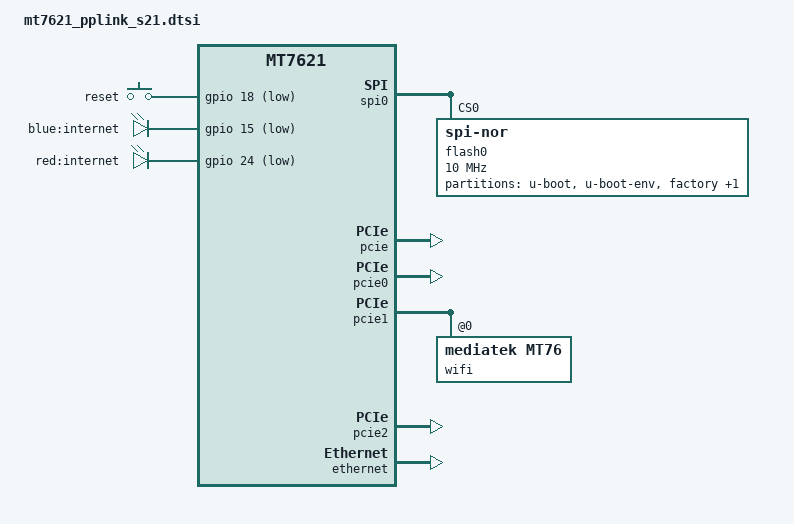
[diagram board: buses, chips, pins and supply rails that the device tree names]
#include "mt7621.dtsi"

#include <dt-bindings/gpio/gpio.h>
#include <dt-bindings/input/input.h>
#include <dt-bindings/leds/common.h>

/ {
	aliases {
		led-boot = &led_internet_blue;
		led-failsafe = &led_internet_red;
		led-running = &led_internet_blue;
		led-upgrade = &led_internet_red;
		label-mac-device = &gmac0;
	};

	chosen {
		bootargs = "console=ttyS0,115200";
	};

	keys {
		compatible = "gpio-keys";

		reset {
			label = "reset";
			gpios = <&gpio 18 GPIO_ACTIVE_LOW>;
			linux,code = <KEY_RESTART>;
		};
	};

	leds {
		compatible = "gpio-leds";

		led_internet_blue: internet_blue {
			label = "blue:internet";
			gpios = <&gpio 15 GPIO_ACTIVE_LOW>;
		};

		led_internet_red: internet_red {
			label = "red:internet";
			gpios = <&gpio 24 GPIO_ACTIVE_LOW>;
		};
	};
};

&i2c {
	status = "disabled";
};

&sdhci {
	status = "disabled";
};

&spi0 {
	status = "okay";

	flash0: flash@0 {
		compatible = "jedec,spi-nor";
		reg = <0>;
		spi-max-frequency = <10000000>;

		partitions {
			compatible = "fixed-partitions";
			#address-cells = <1>;
			#size-cells = <1>;

			partition@0 {
				label = "u-boot";
				reg = <0x0 0x30000>;
				read-only;
			};

			partition@30000 {
				label = "u-boot-env";
				reg = <0x30000 0x10000>;
				read-only;
			};

			partition@40000 {
				label = "factory";
				reg = <0x40000 0x10000>;
				read-only;

				nvmem-layout {
					compatible = "fixed-layout";
					#address-cells = <1>;
					#size-cells = <1>;

					eeprom_factory_0: eeprom@0 {
						reg = <0x0 0xe00>;
					};

					eeprom_factory_800: eeprom@800 {
						reg = <0x800 0xe00>;
					};

					macaddr_factory_e000: macaddr@e000 {
						reg = <0xe000 0x6>;
					};

					macaddr_factory_e006: macaddr@e006 {
						reg = <0xe006 0x6>;
					};
				};
			};

			firmware: partition@50000 {
				compatible = "denx,uimage";
				label = "firmware";
			};
		};
	};
};

&pcie {
	status = "okay";
};

&pcie0 {
	status = "okay";
};

&pcie1 {
	status = "okay";

	wifi@0,0 {
		compatible = "mediatek,mt76";
		reg = <0x0000 0 0 0 0>;
		nvmem-cells = <&eeprom_factory_0>;
		nvmem-cell-names = "eeprom";
		mediatek,disable-radar-background;
	};
};

/*
 * ✅ 必须保留，否则 Kernel 6.6 下 PCIe 总线可能异常
 */
&pcie2 {
	status = "okay";
};

&ethernet {
	status = "okay";
	pinctrl-names = "default";
	pinctrl-0 = <&mdio_pins>, <&rgmii1_pins>;
};

&gmac0 {
	nvmem-cells = <&macaddr_factory_e000>;
	nvmem-cell-names = "mac-address";
};

&switch0 {
	ports {
		port@0 {
			status = "okay";
			label = "lan1";
		};

		port@1 {
			status = "okay";
			label = "lan2";
		};

		port@2 {
			status = "okay";
			label = "lan3";
		};

		port@3 {
			status = "okay";
			label = "lan4";
		};

		port@4 {
			status = "okay";
			label = "wan";
			nvmem-cells = <&macaddr_factory_e006>;
			nvmem-cell-names = "mac-address";
		};

		port@6 {
			status = "okay";
			label = "cpu";
			ethernet = <&gmac0>;
			phy-mode = "rgmii";
		};
	};
};

&state_default {
	gpio {
		groups = "jtag", "wdt";
		function = "gpio";
	};
};
